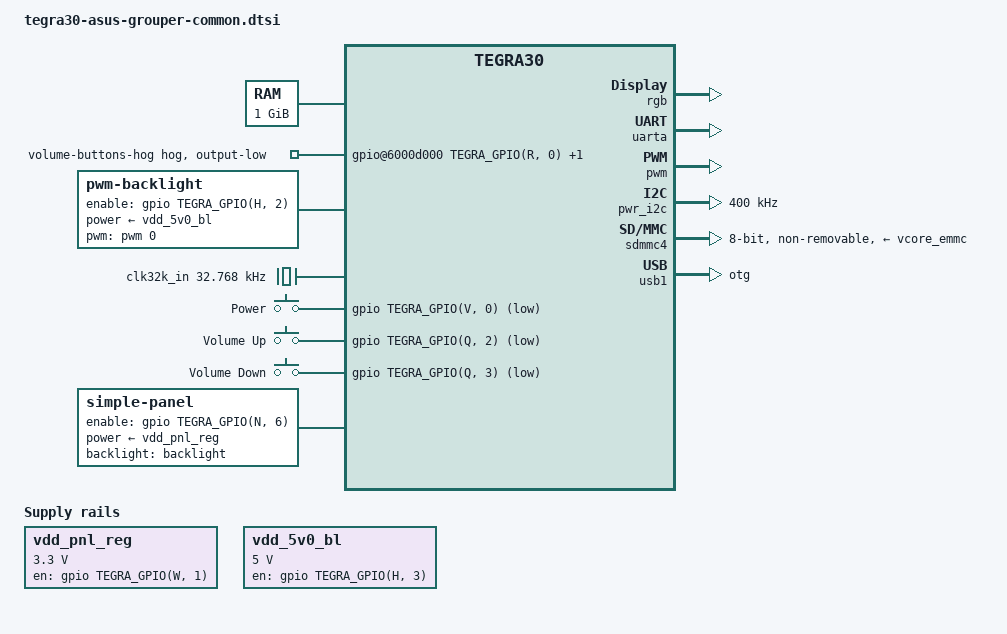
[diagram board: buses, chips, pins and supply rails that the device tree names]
// SPDX-License-Identifier: GPL-2.0

#include <dt-bindings/input/input.h>
#include "tegra30.dtsi"

/ {
	chosen {
		stdout-path = &uarta;
	};

	aliases {
		i2c0 = &pwr_i2c;

		mmc0 = &sdmmc4;	/* eMMC */

		rtc0 = &pmic;
		rtc1 = "/rtc@7000e000";

		usb0 = &usb1;
	};

	memory {
		device_type = "memory";
		reg = <0x80000000 0x40000000>;
	};

	host1x@50000000 {
		dc@54200000 {
			nvidia,180-rotation;
			rgb {
				status = "okay";

				nvidia,panel = <&panel>;
			};
		};
	};

	gpio@6000d000 {
		volume-buttons-hog {
			gpio-hog;
			gpios = <TEGRA_GPIO(R, 0) GPIO_ACTIVE_HIGH>,
				<TEGRA_GPIO(Q, 0) GPIO_ACTIVE_HIGH>;
			output-low;
		};
	};

	uarta: serial@70006000 {
		status = "okay";
	};

	pwm: pwm@7000a000 {
		status = "okay";
	};

	pwr_i2c: i2c@7000d000 {
		status = "okay";
		clock-frequency = <400000>;
	};

	sdmmc4: sdhci@78000600 {
		status = "okay";
		bus-width = <8>;
		non-removable;

		vmmc-supply = <&vcore_emmc>;
		vqmmc-supply = <&vdd_1v8_vio>;
	};

	usb1: usb@7d000000 {
		status = "okay";
		dr_mode = "otg";
	};

	backlight: backlight {
		compatible = "pwm-backlight";

		enable-gpios = <&gpio TEGRA_GPIO(H, 2) GPIO_ACTIVE_HIGH>;
		power-supply = <&vdd_5v0_bl>;
		pwms = <&pwm 0 50000>;

		brightness-levels = <1 35 70 105 140 175 210 255>;
		default-brightness-level = <5>;
	};

	/* PMIC has a built-in 32KHz oscillator which is used by PMC */
	clk32k_in: clock-32k {
		compatible = "fixed-clock";
		#clock-cells = <0>;
		clock-frequency = <32768>;
		clock-output-names = "pmic-oscillator";
	};

	gpio-keys {
		compatible = "gpio-keys";

		key-power {
			label = "Power";
			gpios = <&gpio TEGRA_GPIO(V, 0) GPIO_ACTIVE_LOW>;
			linux,code = <KEY_ENTER>;
		};

		key-volume-up {
			label = "Volume Up";
			gpios = <&gpio TEGRA_GPIO(Q, 2) GPIO_ACTIVE_LOW>;
			linux,code = <KEY_UP>;
		};

		key-volume-down {
			label = "Volume Down";
			gpios = <&gpio TEGRA_GPIO(Q, 3) GPIO_ACTIVE_LOW>;
			linux,code = <KEY_DOWN>;
		};
	};

	panel: panel {
		compatible = "simple-panel";

		power-supply = <&vdd_pnl_reg>;
		enable-gpios = <&gpio TEGRA_GPIO(N, 6) GPIO_ACTIVE_HIGH>;

		backlight = <&backlight>;

		display-timings {
			timing@0 {
				/* 1280x800@60Hz */
				clock-frequency = <68000000>;

				hactive = <800>;
				hfront-porch = <24>;
				hback-porch = <32>;
				hsync-len = <24>;

				vactive = <1280>;
				vfront-porch = <5>;
				vback-porch = <32>;
				vsync-len = <1>;
			};
		};
	};

	vdd_pnl_reg: regulator-pnl {
		compatible = "regulator-fixed";
		regulator-name = "vdd_panel";
		regulator-min-microvolt = <3300000>;
		regulator-max-microvolt = <3300000>;
		gpio = <&gpio TEGRA_GPIO(W, 1) GPIO_ACTIVE_HIGH>;
		enable-active-high;
	};

	vdd_5v0_bl: regulator-bl {
		compatible = "regulator-fixed";
		regulator-name = "vdd_5v0_bl";
		regulator-min-microvolt = <5000000>;
		regulator-max-microvolt = <5000000>;
		gpio = <&gpio TEGRA_GPIO(H, 3) GPIO_ACTIVE_HIGH>;
		enable-active-high;
	};
};
